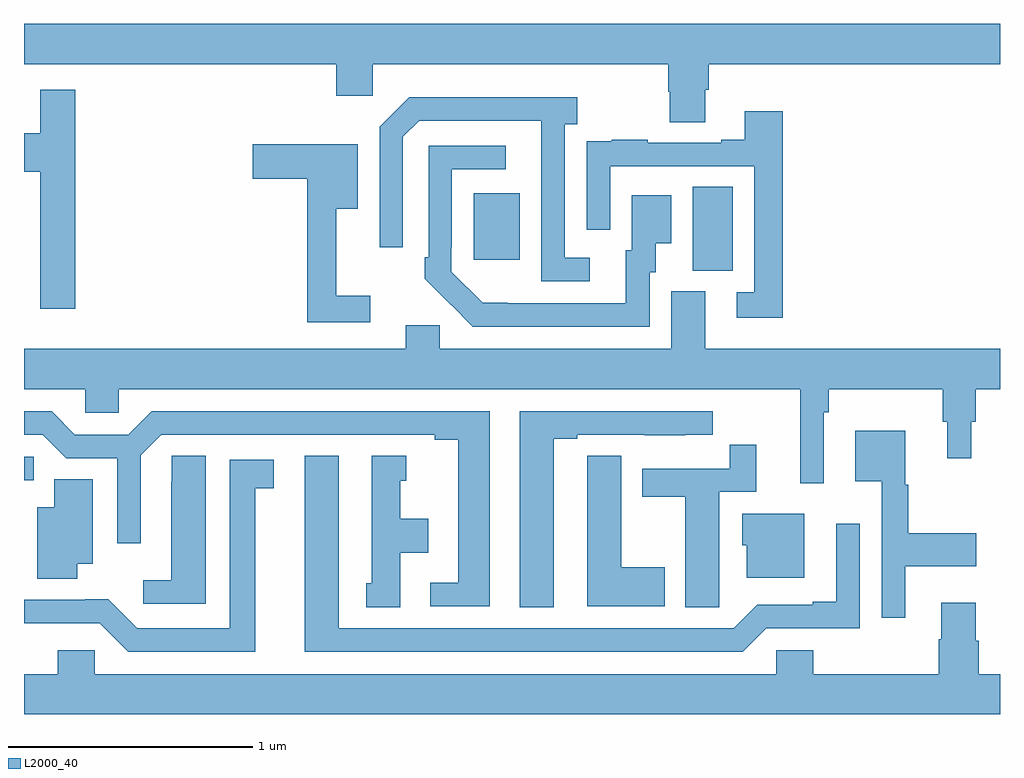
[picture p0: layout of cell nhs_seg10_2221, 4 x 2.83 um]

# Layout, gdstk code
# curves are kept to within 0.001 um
import gdstk
lib = gdstk.Library(unit=1e-6, precision=1e-09)
def R(c, l, rs):  # rectangles x0, y0, x1, y1
    for r in rs: c.add(gdstk.rectangle(r[:2], r[2:], *l))
def P(c, l, *ps):  # polygons
    for p in ps: c.add(gdstk.Polygon(p, *l))
L2000_40 = (2000, 40)

nhs_seg10_2221 = lib.new_cell('nhs_seg10_2221')
R(nhs_seg10_2221, L2000_40, [(229,1287.954,229.039,1288.05), (231.74,1288.813,231.904,1289.156), (230.843,1288.857,231.031,1289.131)])
P(nhs_seg10_2221, L2000_40, [(229,1289.66),(230.279,1289.66),(230.279,1289.529),(230.43,1289.529),(230.43,1289.66),(231.641,1289.66),(231.641,1289.547),(231.646,1289.547),(231.646,1289.422),(231.793,1289.422),(231.793,1289.554),(231.806,1289.554),(231.806,1289.66),(233,1289.66),(233,1289.824),(229,1289.824)],
  [(229.211,1289.554),(229.067,1289.554),(229.067,1289.377),(229,1289.377),(229,1289.219),(229.067,1289.219),(229.067,1288.656),(229.211,1288.656)],
  [(231.319,1288.866),(231.216,1288.866),(231.216,1289.414),(231.268,1289.414),(231.268,1289.524),(230.578,1289.524),(230.457,1289.403),(230.457,1288.908),(230.553,1288.908),(230.553,1289.361),(230.619,1289.427),(231.119,1289.427),(231.12,1288.77),(231.319,1288.77)],
  [(232.109,1289.467),(231.953,1289.467),(231.953,1289.35),(231.857,1289.35),(231.857,1289.337),(231.557,1289.337),(231.557,1289.35),(231.409,1289.35),(231.409,1289.343),(231.307,1289.343),(231.307,1289.234),(231.306,1289.234),(231.306,1288.98),(231.402,1288.98),(231.402,1289.241),(231.993,1289.241),(231.993,1288.725),(231.921,1288.725),(231.921,1288.62),(232.109,1288.62)],
  [(230.419,1288.711),(230.279,1288.711),(230.279,1289.066),(230.368,1289.066),(230.368,1289.331),(229.938,1289.331),(229.938,1289.189),(230.161,1289.189),(230.161,1288.602),(230.419,1288.602)],
  [(231.564,1288.806),(231.589,1288.806),(231.589,1288.925),(231.652,1288.925),(231.652,1289.122),(231.491,1289.122),(231.491,1288.896),(231.467,1288.896),(231.467,1288.68),(230.88,1288.681),(230.751,1288.809),(230.751,1288.909),(230.754,1288.909),(230.754,1289.229),(230.974,1289.229),(230.974,1289.325),(230.658,1289.325),(230.658,1288.867),(230.643,1288.867),(230.643,1288.779),(230.84,1288.584),(231.564,1288.584)],
  [(232.278,1288.232),(232.298,1288.232),(232.298,1288.328),(232.765,1288.328),(232.765,1288.194),(232.784,1288.194),(232.784,1288.044),(232.882,1288.044),(232.882,1288.194),(232.901,1288.194),(232.901,1288.328),(233,1288.328),(233,1288.492),(231.793,1288.492),(231.793,1288.728),(231.653,1288.728),(231.653,1288.492),(230.703,1288.492),(230.703,1288.59),(230.564,1288.59),(230.564,1288.492),(229,1288.492),(229,1288.328),(229.251,1288.328),(229.251,1288.23),(229.389,1288.23),(229.389,1288.328),(232.181,1288.328),(232.181,1287.942),(232.278,1287.942)],
  [(230.908,1288.236),(229.523,1288.236),(229.427,1288.14),(229.209,1288.14),(229.113,1288.236),(229,1288.236),(229,1288.14),(229.077,1288.14),(229.173,1288.044),(229.383,1288.044),(229.383,1287.696),(229.479,1287.696),(229.479,1288.056),(229.563,1288.14),(230.684,1288.14),(230.684,1288.12),(230.78,1288.12),(230.78,1287.534),(230.664,1287.534),(230.664,1287.438),(230.908,1287.438)],
  [(231.172,1288.125),(231.268,1288.125),(231.268,1288.14),(231.544,1288.14),(231.544,1288.139),(231.71,1288.139),(231.71,1288.14),(231.823,1288.14),(231.823,1288.236),(231.032,1288.236),(231.032,1287.433),(231.172,1287.433)],
  [(232.612,1287.602),(232.903,1287.602),(232.903,1287.737),(232.624,1287.737),(232.624,1287.936),(232.612,1287.936),(232.612,1288.156),(232.406,1288.156),(232.406,1287.95),(232.515,1287.95),(232.515,1287.39),(232.612,1287.39)],
  [(231.849,1287.544),(231.85,1287.544),(231.85,1287.906),(232.001,1287.906),(232.001,1288.099),(231.892,1288.099),(231.892,1288.002),(231.533,1288.002),(231.533,1287.886),(231.71,1287.886),(231.71,1287.433),(231.849,1287.433)],
  [(231.625,1287.597),(231.448,1287.597),(231.448,1288.055),(231.309,1288.055),(231.309,1287.947),(231.308,1287.947),(231.308,1287.437),(231.625,1287.437)],
  [(229.744,1288.055),(229.605,1288.055),(229.605,1287.947),(229.604,1287.947),(229.604,1287.544),(229.488,1287.544),(229.488,1287.447),(229.744,1287.447)],
  [(230.542,1287.656),(230.656,1287.656),(230.656,1287.796),(230.542,1287.796),(230.542,1287.951),(230.566,1287.951),(230.566,1288.054),(230.426,1288.054),(230.426,1287.531),(230.402,1287.531),(230.402,1287.433),(230.542,1287.433)],
  [(232.041,1287.348),(232.425,1287.348),(232.425,1287.775),(232.328,1287.775),(232.328,1287.457),(232.232,1287.457),(232.232,1287.444),(232.005,1287.444),(231.909,1287.348),(230.29,1287.348),(230.29,1288.054),(230.15,1288.054),(230.15,1287.252),(231.945,1287.252)],
  [(229.948,1287.922),(230.023,1287.922),(230.023,1288.038),(229.844,1288.038),(229.844,1287.348),(229.464,1287.348),(229.346,1287.466),(229,1287.465),(229,1287.368),(229.311,1287.369),(229.428,1287.252),(229.948,1287.252)],
  [(229.219,1287.611),(229.282,1287.611),(229.282,1287.959),(229.124,1287.959),(229.124,1287.844),(229.055,1287.844),(229.055,1287.55),(229.219,1287.55)],
  [(232.198,1287.817),(231.944,1287.817),(231.944,1287.687),(231.962,1287.687),(231.962,1287.554),(232.198,1287.554)],
  [(233,1287.16),(232.913,1287.16),(232.913,1287.297),(232.9,1287.297),(232.9,1287.451),(232.76,1287.451),(232.76,1287.302),(232.748,1287.302),(232.748,1287.16),(232.235,1287.16),(232.235,1287.258),(232.083,1287.258),(232.083,1287.16),(229.29,1287.16),(229.29,1287.258),(229.139,1287.258),(229.139,1287.16),(229,1287.16),(229,1286.996),(233,1286.996)])

lib.write_gds('nhs_seg10_2221.gds')
